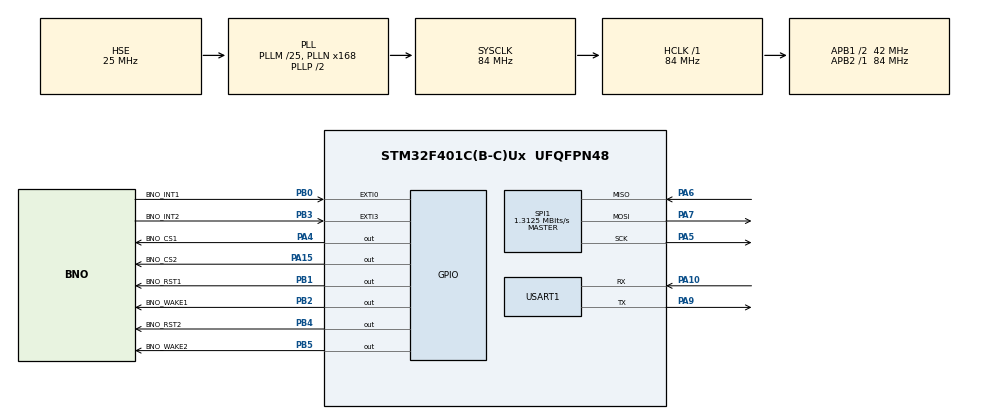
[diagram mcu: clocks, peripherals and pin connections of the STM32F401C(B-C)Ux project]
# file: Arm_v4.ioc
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Mcu.Family=STM32F4
Mcu.Name=STM32F401C(B-C)Ux
Mcu.Package=UFQFPN48
NVIC.EXTI0_IRQn=true\:0\:0\:false\:false\:true\:true\:true\:true
NVIC.EXTI3_IRQn=true\:0\:0\:false\:false\:true\:true\:true\:true
NVIC.PriorityGroup=NVIC_PRIORITYGROUP_4
PA10.Mode=Asynchronous
PA10.Signal=USART1_RX
PA13.Mode=Serial_Wire
PA13.Signal=SYS_JTMS-SWDIO
PA14.Mode=Serial_Wire
PA14.Signal=SYS_JTCK-SWCLK
PA15.GPIO_Label=BNO_CS2
PA15.PinState=GPIO_PIN_SET
PA15.Signal=GPIO_Output
PA4.GPIO_Label=BNO_CS1
PA4.PinState=GPIO_PIN_SET
PA4.Signal=GPIO_Output
PA5.Mode=Full_Duplex_Master
PA5.Signal=SPI1_SCK
PA6.Mode=Full_Duplex_Master
PA6.Signal=SPI1_MISO
PA7.Mode=Full_Duplex_Master
PA7.Signal=SPI1_MOSI
PA9.Mode=Asynchronous
PA9.Signal=USART1_TX
PB0.GPIO_Label=BNO_INT1
PB0.GPIO_ModeDefaultEXTI=GPIO_MODE_IT_FALLING
PB0.GPIO_PuPd=GPIO_PULLUP
PB0.Signal=GPXTI0
PB1.GPIO_Label=BNO_RST1
PB1.GPIO_PuPd=GPIO_PULLUP
PB1.PinState=GPIO_PIN_SET
PB1.Signal=GPIO_Output
PB2.GPIO_Label=BNO_WAKE1
PB2.GPIO_PuPd=GPIO_PULLUP
PB2.PinState=GPIO_PIN_SET
PB2.Signal=GPIO_Output
PB3.GPIO_Label=BNO_INT2
PB3.GPIO_ModeDefaultEXTI=GPIO_MODE_IT_FALLING
PB3.GPIO_PuPd=GPIO_PULLUP
PB3.Signal=GPXTI3
PB4.GPIO_Label=BNO_RST2
PB4.GPIO_PuPd=GPIO_PULLUP
PB4.PinState=GPIO_PIN_SET
PB4.Signal=GPIO_Output
PB5.GPIO_Label=BNO_WAKE2
PB5.GPIO_PuPd=GPIO_PULLUP
PB5.PinState=GPIO_PIN_SET
PB5.Signal=GPIO_Output
PH0\ -\ OSC_IN.Mode=HSE-External-Oscillator
PH0\ -\ OSC_IN.Signal=RCC_OSC_IN
PH1\ -\ OSC_OUT.Mode=HSE-External-Oscillator
PH1\ -\ OSC_OUT.Signal=RCC_OSC_OUT
ProjectManager.HeapSize=0x200
ProjectManager.StackSize=0x400
ProjectManager.TargetToolchain=CMake
RCC.48MHZClocksFreq_Value=42000000
RCC.AHBFreq_Value=84000000
RCC.APB1CLKDivider=RCC_HCLK_DIV2
RCC.APB1Freq_Value=42000000
RCC.APB1TimFreq_Value=84000000
RCC.APB2Freq_Value=84000000
RCC.APB2TimFreq_Value=84000000
RCC.CortexFreq_Value=84000000
RCC.HCLKFreq_Value=84000000
RCC.HSE_VALUE=25000000
RCC.HSI_VALUE=16000000
RCC.LSE_VALUE=32768
RCC.PLLM=25
RCC.PLLN=168
RCC.PLLSourceVirtual=RCC_PLLSOURCE_HSE
RCC.SYSCLKFreq_VALUE=84000000
RCC.SYSCLKSource=RCC_SYSCLKSOURCE_PLLCLK
RCC.VCOOutputFreq_Value=168000000
SPI1.BaudRatePrescaler=SPI_BAUDRATEPRESCALER_64
SPI1.CLKPhase=SPI_PHASE_2EDGE
SPI1.CLKPolarity=SPI_POLARITY_HIGH
SPI1.CalculateBaudRate=1.3125 MBits/s
SPI1.Direction=SPI_DIRECTION_2LINES
SPI1.Mode=SPI_MODE_MASTER
SPI1.VirtualType=VM_MASTER
USART1.VirtualMode=VM_ASYNC
board=custom

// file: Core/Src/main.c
/* USER CODE BEGIN Header */
/**
  ******************************************************************************
  * @file           : main.c
  * @brief          : Main program body
  ******************************************************************************
  * @attention
  *
  * Copyright (c) 2026 STMicroelectronics.
  * All rights reserved.
  *
  * This software is licensed under terms that can be found in the LICENSE file
  * in the root directory of this software component.
  * If no LICENSE file comes with this software, it is provided AS-IS.
  *
  ******************************************************************************
  */
/* USER CODE END Header */
#include "main.h"

/* USER CODE BEGIN Includes */
#include <stdio.h>
#include <string.h>
#include <stdlib.h>

#include "sh2.h"
#include "sh2_err.h"
#include "sh2_hal.h"
#include "sh2_SensorValue.h"
/* USER CODE END Includes */

SPI_HandleTypeDef hspi1;

UART_HandleTypeDef huart1;

/* USER CODE BEGIN PV */
static float s1_real = 0.0f, s1_i = 0.0f, s1_j = 0.0f, s1_k = 0.0f;
static float s2_real = 0.0f, s2_i = 0.0f, s2_j = 0.0f, s2_k = 0.0f;

/* TEMP DEBUG counters, remove once BLE data flow is confirmed working */
static volatile uint32_t dbg_s1_events = 0;
static volatile uint32_t dbg_s1_grv    = 0;
static volatile uint32_t dbg_s2_pkts   = 0;
static volatile uint32_t dbg_s2_grv    = 0;
static int dbg_s1_cfg_ret  = -99;
static int dbg_s2_send_ret = -99;
static volatile uint32_t dbg_int1_low = 0;
static volatile uint32_t dbg_int2_low = 0;
/* USER CODE END PV */

void SystemClock_Config(void);
static void MX_GPIO_Init(void);
static void MX_SPI1_Init(void);
static void MX_USART1_UART_Init(void);
/* USER CODE BEGIN PFP */
static int  spihal_open(sh2_Hal_t *self);
static void spihal_close(sh2_Hal_t *self);
static int  spihal_wake(void);
static int  spihal_read(sh2_Hal_t *self, uint8_t *pBuffer, unsigned len, uint32_t *t_us);
static int  spihal_write(sh2_Hal_t *self, uint8_t *pBuffer, unsigned len);
static uint32_t spihal_getTimeUs(sh2_Hal_t *self);
static sh2_Hal_t *sh2_hal_init(void);
static void sensorHandler(void *cookie, sh2_SensorEvent_t *event);
static void BNO08x_Init(void);
static void sh2_service_wrapper(void);

static int  spihal2_wake(void);
static int  spihal2_reset(void);
static uint16_t spihal2_read(uint8_t *pBuffer, uint16_t len);
static int  spihal2_write(uint8_t *pBuffer, uint16_t len);
static int  s2_send(uint8_t chan, const uint8_t *payload, uint16_t len);
static void s2_handlePacket(uint8_t *buf, uint16_t totalLen);
static void BNO08x2_Init(void);
static void BNO08x2_Service(void);
/* USER CODE END PFP */

/* USER CODE BEGIN 0 */
static int spihal_open(sh2_Hal_t *self)
{
    HAL_GPIO_WritePin(BNO_CS1_GPIO_Port, BNO_CS1_Pin, GPIO_PIN_SET);
    HAL_GPIO_WritePin(BNO_WAKE1_GPIO_Port, BNO_WAKE1_Pin, GPIO_PIN_SET);
    HAL_GPIO_WritePin(BNO_RST1_GPIO_Port, BNO_RST1_Pin, GPIO_PIN_RESET);
    HAL_Delay(50);
    HAL_GPIO_WritePin(BNO_RST1_GPIO_Port, BNO_RST1_Pin, GPIO_PIN_SET);

    uint32_t t0 = HAL_GetTick();
    while (HAL_GPIO_ReadPin(BNO_INT1_GPIO_Port, BNO_INT1_Pin) == GPIO_PIN_SET) {
        if (HAL_GetTick() - t0 > 500U) {
            return SH2_ERR_IO;
        }
    }
    return SH2_OK;
}

static void spihal_close(sh2_Hal_t *self)
{
    (void)self;
}

static int spihal_wake(void)
{
    if (HAL_GPIO_ReadPin(BNO_INT1_GPIO_Port, BNO_INT1_Pin) == GPIO_PIN_RESET) {
        return 1;
    }

    HAL_GPIO_WritePin(BNO_WAKE1_GPIO_Port, BNO_WAKE1_Pin, GPIO_PIN_RESET);
    uint32_t t0 = HAL_GetTick();
    while (HAL_GPIO_ReadPin(BNO_INT1_GPIO_Port, BNO_INT1_Pin) == GPIO_PIN_SET) {
        if (HAL_GetTick() - t0 > 500U) {
            HAL_GPIO_WritePin(BNO_WAKE1_GPIO_Port, BNO_WAKE1_Pin, GPIO_PIN_SET);
            return 0;
        }
    }
    HAL_GPIO_WritePin(BNO_WAKE1_GPIO_Port, BNO_WAKE1_Pin, GPIO_PIN_SET);
    return 1;
}

static int spihal_read(sh2_Hal_t *self, uint8_t *pBuffer, unsigned len, uint32_t *t_us)
{
    (void)self;

    if (HAL_GPIO_ReadPin(BNO_INT1_GPIO_Port, BNO_INT1_Pin) == GPIO_PIN_SET) {
        return 0;
    }

    uint8_t header[4] = {0};
    uint8_t dummy[4] = {0};

    HAL_GPIO_WritePin(BNO_CS1_GPIO_Port, BNO_CS1_Pin, GPIO_PIN_RESET);
    HAL_SPI_TransmitReceive(&hspi1, dummy, header, 4, 100);

    uint16_t packetLen = ((header[1] << 8) | header[0]) & 0x7FFFU;
    if (packetLen == 0U || packetLen > len) {
        HAL_GPIO_WritePin(BNO_CS1_GPIO_Port, BNO_CS1_Pin, GPIO_PIN_SET);
        return 0;
    }

    memcpy(pBuffer, header, 4U);
    uint16_t remain = (uint16_t)(packetLen - 4U);
    if (remain > 0U) {
        uint8_t *dummy2 = (uint8_t *)malloc(remain);
        if (dummy2 == NULL) {
            HAL_GPIO_WritePin(BNO_CS1_GPIO_Port, BNO_CS1_Pin, GPIO_PIN_SET);
            return 0;
        }
        memset(dummy2, 0, remain);
        HAL_SPI_TransmitReceive(&hspi1, dummy2, pBuffer + 4U, remain, 100);
        free(dummy2);
    }
    HAL_GPIO_WritePin(BNO_CS1_GPIO_Port, BNO_CS1_Pin, GPIO_PIN_SET);

    if (t_us != NULL) {
        *t_us = HAL_GetTick() * 1000U;
    }
    return (int)packetLen;
}

static int spihal_write(sh2_Hal_t *self, uint8_t *pBuffer, unsigned len)
{
    (void)self;
    if (!spihal_wake()) {
        return 0;
    }

    HAL_GPIO_WritePin(BNO_CS1_GPIO_Port, BNO_CS1_Pin, GPIO_PIN_RESET);
    HAL_SPI_Transmit(&hspi1, pBuffer, len, 100);
    HAL_GPIO_WritePin(BNO_CS1_GPIO_Port, BNO_CS1_Pin, GPIO_PIN_SET);
    return (int)len;
}

static uint32_t spihal_getTimeUs(sh2_Hal_t *self)
{
    (void)self;
    return HAL_GetTick() * 1000U;
}

static sh2_Hal_t sh2Hal =
{
    .open = spihal_open,
    .close = spihal_close,
    .read = spihal_read,
    .write = spihal_write,
    .getTimeUs = spihal_getTimeUs,
};

static sh2_Hal_t *sh2_hal_init(void)
{
    return &sh2Hal;
}

static void sensorHandler(void *cookie, sh2_SensorEvent_t *event)
{
    (void)cookie;
    sh2_SensorValue_t value;
    if (sh2_decodeSensorEvent(&value, event) != SH2_OK) {
        return;
    }
    dbg_s1_events++;

    if (value.sensorId == SH2_GAME_ROTATION_VECTOR) {
        dbg_s1_grv++;
        s1_real = value.un.gameRotationVector.real;
        s1_i    = value.un.gameRotationVector.i;
        s1_j    = value.un.gameRotationVector.j;
        s1_k    = value.un.gameRotationVector.k;
    }
}

#define S2_CHAN_EXECUTABLE_DEVICE (1)
#define S2_CHAN_SENSORHUB_CONTROL (2)
#define S2_CHAN_SENSORHUB_INPUT   (3)
#define S2_RESET_COMPLETE         (1)
#define S2_SET_FEATURE_CMD        (0xFD)
#define S2_GAME_ROTATION_VECTOR   (0x08)
#define S2_BASE_TIMESTAMP_REF     (0xFB)
#define S2_TIMESTAMP_REBASE       (0xFA)

static uint8_t s2_outSeq[8] = {0};
static bool s2_resetComplete = false;

static int spihal2_wake(void)
{
    if (HAL_GPIO_ReadPin(BNO_INT2_GPIO_Port, BNO_INT2_Pin) == GPIO_PIN_RESET) {
        return 1;
    }

    HAL_GPIO_WritePin(BNO_WAKE2_GPIO_Port, BNO_WAKE2_Pin, GPIO_PIN_RESET);
    uint32_t t0 = HAL_GetTick();
    while (HAL_GPIO_ReadPin(BNO_INT2_GPIO_Port, BNO_INT2_Pin) == GPIO_PIN_SET) {
        if (HAL_GetTick() - t0 > 500U) {
            HAL_GPIO_WritePin(BNO_WAKE2_GPIO_Port, BNO_WAKE2_Pin, GPIO_PIN_SET);
            return 0;
        }
    }
    HAL_GPIO_WritePin(BNO_WAKE2_GPIO_Port, BNO_WAKE2_Pin, GPIO_PIN_SET);
    return 1;
}

static int spihal2_reset(void)
{
    HAL_GPIO_WritePin(BNO_CS2_GPIO_Port, BNO_CS2_Pin, GPIO_PIN_SET);
    HAL_GPIO_WritePin(BNO_WAKE2_GPIO_Port, BNO_WAKE2_Pin, GPIO_PIN_SET);
    HAL_GPIO_WritePin(BNO_RST2_GPIO_Port, BNO_RST2_Pin, GPIO_PIN_RESET);
    HAL_Delay(200);
    HAL_GPIO_WritePin(BNO_RST2_GPIO_Port, BNO_RST2_Pin, GPIO_PIN_SET);

    uint32_t t0 = HAL_GetTick();
    while (HAL_GPIO_ReadPin(BNO_INT2_GPIO_Port, BNO_INT2_Pin) == GPIO_PIN_SET) {
        if (HAL_GetTick() - t0 > 500U) {
            return 0;
        }
    }
    return 1;
}

static uint16_t spihal2_read(uint8_t *pBuffer, uint16_t len)
{
    if (HAL_GPIO_ReadPin(BNO_INT2_GPIO_Port, BNO_INT2_Pin) == GPIO_PIN_SET) {
        return 0;
    }

    uint8_t header[4] = {0};
    uint8_t dummy[4] = {0};

    HAL_GPIO_WritePin(BNO_CS2_GPIO_Port, BNO_CS2_Pin, GPIO_PIN_RESET);
    HAL_SPI_TransmitReceive(&hspi1, dummy, header, 4, 100);

    uint16_t packetLen = ((header[1] << 8) | header[0]) & 0x7FFFU;
    if (packetLen == 0U || packetLen > len) {
        HAL_GPIO_WritePin(BNO_CS2_GPIO_Port, BNO_CS2_Pin, GPIO_PIN_SET);
        return 0;
    }

    memcpy(pBuffer, header, 4U);
    uint16_t remain = (uint16_t)(packetLen - 4U);
    if (remain > 0U) {
        uint8_t *dummy2 = (uint8_t *)malloc(remain);
        if (dummy2 == NULL) {
            HAL_GPIO_WritePin(BNO_CS2_GPIO_Port, BNO_CS2_Pin, GPIO_PIN_SET);
            return 0;
        }
        memset(dummy2, 0, remain);
        HAL_SPI_TransmitReceive(&hspi1, dummy2, pBuffer + 4U, remain, 100);
        free(dummy2);
    }
    HAL_GPIO_WritePin(BNO_CS2_GPIO_Port, BNO_CS2_Pin, GPIO_PIN_SET);
    return packetLen;
}

static int spihal2_write(uint8_t *pBuffer, uint16_t len)
{
    if (!spihal2_wake()) {
        return 0;
    }

    HAL_GPIO_WritePin(BNO_CS2_GPIO_Port, BNO_CS2_Pin, GPIO_PIN_RESET);
    HAL_SPI_Transmit(&hspi1, pBuffer, len, 100);
    HAL_GPIO_WritePin(BNO_CS2_GPIO_Port, BNO_CS2_Pin, GPIO_PIN_SET);
    return len;
}

static int s2_send(uint8_t chan, const uint8_t *payload, uint16_t len)
{
    uint8_t txBuf[24] = {0};
    uint16_t total = (uint16_t)(len + 4U);
    txBuf[0] = (uint8_t)(total & 0xFFU);
    txBuf[1] = (uint8_t)((total >> 8) & 0x7FU);
    txBuf[2] = chan;
    txBuf[3] = s2_outSeq[chan]++;
    memcpy(txBuf + 4U, payload, len);
    return spihal2_write(txBuf, total);
}

static void s2_handlePacket(uint8_t *buf, uint16_t totalLen)
{
    uint8_t chan = buf[2];
    uint8_t *payload = buf + 4U;
    uint16_t plen = (uint16_t)(totalLen - 4U);

    if (chan == S2_CHAN_EXECUTABLE_DEVICE) {
        if (plen >= 1U && payload[0] == S2_RESET_COMPLETE) {
            s2_resetComplete = true;
        }
        return;
    }

    if (chan != S2_CHAN_SENSORHUB_INPUT) {
        return;
    }
    dbg_s2_pkts++;

    uint16_t cursor = 0U;
    while (cursor + 1U <= plen) {
        uint8_t reportId = payload[cursor];

        if (reportId == S2_BASE_TIMESTAMP_REF || reportId == S2_TIMESTAMP_REBASE) {
            cursor += 5U;
        }
        else if (reportId == S2_GAME_ROTATION_VECTOR && cursor + 12U <= plen) {
            int16_t i = (int16_t)(payload[cursor + 4U] | ((uint16_t)payload[cursor + 5U] << 8));
            int16_t j = (int16_t)(payload[cursor + 6U] | ((uint16_t)payload[cursor + 7U] << 8));
            int16_t k = (int16_t)(payload[cursor + 8U] | ((uint16_t)payload[cursor + 9U] << 8));
            int16_t r = (int16_t)(payload[cursor + 10U] | ((uint16_t)payload[cursor + 11U] << 8));

            dbg_s2_grv++;
            s2_real = r / 16384.0f;
            s2_i    = i / 16384.0f;
            s2_j    = j / 16384.0f;
            s2_k    = k / 16384.0f;
            cursor += 12U;
        }
        else {
            break;
        }
    }
}

static void BNO08x2_Init(void)
{
    int attempt = 0;
    while (!spihal2_reset()) {
        char dbg[32];
        int len = snprintf(dbg, sizeof(dbg), "S2 reset fail #%d\r\n", ++attempt);
        HAL_UART_Transmit(&huart1, (uint8_t *)dbg, (uint16_t)len, 100);
        HAL_Delay(500);
    }

    static uint8_t rx[320];
    s2_resetComplete = false;
    uint32_t start = HAL_GetTick();
    while (!s2_resetComplete && (HAL_GetTick() - start < 500U)) {
        uint16_t n = spihal2_read(rx, sizeof(rx));
        if (n > 0U) {
            s2_handlePacket(rx, n);
        }
    }

    uint8_t req[17] = {0};
    req[0] = S2_SET_FEATURE_CMD;
    req[1] = S2_GAME_ROTATION_VECTOR;
    uint32_t interval = 10000U;
    req[5] = (uint8_t)(interval & 0xFFU);
    req[6] = (uint8_t)((interval >> 8) & 0xFFU);
    req[7] = (uint8_t)((interval >> 16) & 0xFFU);
    req[8] = (uint8_t)((interval >> 24) & 0xFFU);
    dbg_s2_send_ret = s2_send(S2_CHAN_SENSORHUB_CONTROL, req, sizeof(req));
}

static void BNO08x2_Service(void)
{
    static uint8_t rx[320];
    uint16_t n = spihal2_read(rx, sizeof(rx));
    if (n > 0U) {
        s2_handlePacket(rx, n);
    }
}

static void BNO08x_Init(void)
{
    sh2_Hal_t *pHal = sh2_hal_init();

    int attempt = 0;
    while (sh2_open(pHal, NULL, NULL) != SH2_OK) {
        char dbg[32];
        int len = snprintf(dbg, sizeof(dbg), "sh2_open fail #%d\r\n", ++attempt);
        HAL_UART_Transmit(&huart1, (uint8_t *)dbg, (uint16_t)len, 100);
        HAL_Delay(500);
    }

    sh2_setSensorCallback(sensorHandler, NULL);

    sh2_SensorConfig_t config = {0};
    config.reportInterval_us = 10000U;
    dbg_s1_cfg_ret = sh2_setSensorConfig(SH2_GAME_ROTATION_VECTOR, &config);
}

static void sh2_service_wrapper(void)
{
    sh2_service();
}
/* USER CODE END 0 */

int main(void)
{

  /* MCU Configuration--------------------------------------------------------*/

  /* Reset of all peripherals, Initializes the Flash interface and the Systick. */
  HAL_Init();

  /* Configure the system clock */
  SystemClock_Config();

  /* Initialize all configured peripherals */
  MX_GPIO_Init();
  MX_SPI1_Init();
  MX_USART1_UART_Init();
  /* USER CODE BEGIN 2 */
  BNO08x_Init();
  BNO08x2_Init();
  /* USER CODE END 2 */

  /* Infinite loop */
  while (1)
  {

    /* USER CODE BEGIN 3 */
    if (HAL_GPIO_ReadPin(BNO_INT1_GPIO_Port, BNO_INT1_Pin) == GPIO_PIN_RESET) dbg_int1_low++;
    if (HAL_GPIO_ReadPin(BNO_INT2_GPIO_Port, BNO_INT2_Pin) == GPIO_PIN_RESET) dbg_int2_low++;

    sh2_service_wrapper();
    BNO08x2_Service();

    static uint32_t lastReportAt = 0;
    if (HAL_GetTick() - lastReportAt >= 100U) {
        lastReportAt = HAL_GetTick();
        char tx_buf[128];
        int len = snprintf(tx_buf, sizeof(tx_buf),
            "%.4f %.4f %.4f %.4f %.4f %.4f %.4f %.4f\r\n",
            s1_real, s1_i, s1_j, s1_k,
            s2_real, s2_i, s2_j, s2_k);
        HAL_UART_Transmit(&huart1, (uint8_t *)tx_buf, (uint16_t)len, 100);
    }

    static uint32_t lastDbgAt = 0;
    if (HAL_GetTick() - lastDbgAt >= 1000U) {
        lastDbgAt = HAL_GetTick();
        char dbg_buf[160];
        int dlen = snprintf(dbg_buf, sizeof(dbg_buf),
            "DBG s1cfg=%d s2send=%d s1ev=%lu s1grv=%lu s2pkt=%lu s2grv=%lu int1lo=%lu int2lo=%lu\r\n",
            dbg_s1_cfg_ret, dbg_s2_send_ret,
            (unsigned long)dbg_s1_events, (unsigned long)dbg_s1_grv,
            (unsigned long)dbg_s2_pkts, (unsigned long)dbg_s2_grv,
            (unsigned long)dbg_int1_low, (unsigned long)dbg_int2_low);
        HAL_UART_Transmit(&huart1, (uint8_t *)dbg_buf, (uint16_t)dlen, 100);
    }
  }
  /* USER CODE END 3 */
}

void SystemClock_Config(void)
{
  RCC_OscInitTypeDef RCC_OscInitStruct = {0};
  RCC_ClkInitTypeDef RCC_ClkInitStruct = {0};

  /** Configure the main internal regulator output voltage
  */
  __HAL_RCC_PWR_CLK_ENABLE();
  __HAL_PWR_VOLTAGESCALING_CONFIG(PWR_REGULATOR_VOLTAGE_SCALE2);

  /** Initializes the RCC Oscillators according to the specified parameters
  * in the RCC_OscInitTypeDef structure.
  */
  RCC_OscInitStruct.OscillatorType = RCC_OSCILLATORTYPE_HSE;
  RCC_OscInitStruct.HSEState = RCC_HSE_ON;
  RCC_OscInitStruct.PLL.PLLState = RCC_PLL_ON;
  RCC_OscInitStruct.PLL.PLLSource = RCC_PLLSOURCE_HSE;
  RCC_OscInitStruct.PLL.PLLM = 25;
  RCC_OscInitStruct.PLL.PLLN = 168;
  RCC_OscInitStruct.PLL.PLLP = RCC_PLLP_DIV2;
  RCC_OscInitStruct.PLL.PLLQ = 4;
  if (HAL_RCC_OscConfig(&RCC_OscInitStruct) != HAL_OK)
  {
    Error_Handler();
  }

  /** Initializes the CPU, AHB and APB buses clocks
  */
  RCC_ClkInitStruct.ClockType = RCC_CLOCKTYPE_HCLK|RCC_CLOCKTYPE_SYSCLK
                              |RCC_CLOCKTYPE_PCLK1|RCC_CLOCKTYPE_PCLK2;
  RCC_ClkInitStruct.SYSCLKSource = RCC_SYSCLKSOURCE_PLLCLK;
  RCC_ClkInitStruct.AHBCLKDivider = RCC_SYSCLK_DIV1;
  RCC_ClkInitStruct.APB1CLKDivider = RCC_HCLK_DIV2;
  RCC_ClkInitStruct.APB2CLKDivider = RCC_HCLK_DIV1;

  if (HAL_RCC_ClockConfig(&RCC_ClkInitStruct, FLASH_LATENCY_2) != HAL_OK)
  {
    Error_Handler();
  }
}

static void MX_SPI1_Init(void)
{

  /* SPI1 parameter configuration*/
  hspi1.Instance = SPI1;
  hspi1.Init.Mode = SPI_MODE_MASTER;
  hspi1.Init.Direction = SPI_DIRECTION_2LINES;
  hspi1.Init.DataSize = SPI_DATASIZE_8BIT;
  hspi1.Init.CLKPolarity = SPI_POLARITY_HIGH;
  hspi1.Init.CLKPhase = SPI_PHASE_2EDGE;
  hspi1.Init.NSS = SPI_NSS_SOFT;
  hspi1.Init.BaudRatePrescaler = SPI_BAUDRATEPRESCALER_64;
  hspi1.Init.FirstBit = SPI_FIRSTBIT_MSB;
  hspi1.Init.TIMode = SPI_TIMODE_DISABLE;
  hspi1.Init.CRCCalculation = SPI_CRCCALCULATION_DISABLE;
  hspi1.Init.CRCPolynomial = 10;
  if (HAL_SPI_Init(&hspi1) != HAL_OK)
  {
    Error_Handler();
  }

}

static void MX_USART1_UART_Init(void)
{

  huart1.Instance = USART1;
  huart1.Init.BaudRate = 115200;
  huart1.Init.WordLength = UART_WORDLENGTH_8B;
  huart1.Init.StopBits = UART_STOPBITS_1;
  huart1.Init.Parity = UART_PARITY_NONE;
  huart1.Init.Mode = UART_MODE_TX_RX;
  huart1.Init.HwFlowCtl = UART_HWCONTROL_NONE;
  huart1.Init.OverSampling = UART_OVERSAMPLING_16;
  if (HAL_UART_Init(&huart1) != HAL_OK)
  {
    Error_Handler();
  }

}

static void MX_GPIO_Init(void)
{
  GPIO_InitTypeDef GPIO_InitStruct = {0};

  /* GPIO Ports Clock Enable */
  __HAL_RCC_GPIOH_CLK_ENABLE();
  __HAL_RCC_GPIOA_CLK_ENABLE();
  __HAL_RCC_GPIOB_CLK_ENABLE();

  /*Configure GPIO pin Output Level */
  HAL_GPIO_WritePin(GPIOA, BNO_CS1_Pin|BNO_CS2_Pin, GPIO_PIN_SET);

  /*Configure GPIO pin Output Level */
  HAL_GPIO_WritePin(GPIOB, BNO_RST1_Pin|BNO_WAKE1_Pin|BNO_RST2_Pin|BNO_WAKE2_Pin, GPIO_PIN_SET);

  /*Configure GPIO pins : BNO_CS1_Pin BNO_CS2_Pin */
  GPIO_InitStruct.Pin = BNO_CS1_Pin|BNO_CS2_Pin;
  GPIO_InitStruct.Mode = GPIO_MODE_OUTPUT_PP;
  GPIO_InitStruct.Pull = GPIO_NOPULL;
  GPIO_InitStruct.Speed = GPIO_SPEED_FREQ_LOW;
  HAL_GPIO_Init(GPIOA, &GPIO_InitStruct);

  /*Configure GPIO pins : BNO_INT1_Pin BNO_INT2_Pin */
  GPIO_InitStruct.Pin = BNO_INT1_Pin|BNO_INT2_Pin;
  GPIO_InitStruct.Mode = GPIO_MODE_IT_FALLING;
  GPIO_InitStruct.Pull = GPIO_PULLUP;
  HAL_GPIO_Init(GPIOB, &GPIO_InitStruct);

  /*Configure GPIO pins : BNO_RST1_Pin BNO_WAKE1_Pin BNO_RST2_Pin BNO_WAKE2_Pin */
  GPIO_InitStruct.Pin = BNO_RST1_Pin|BNO_WAKE1_Pin|BNO_RST2_Pin|BNO_WAKE2_Pin;
  GPIO_InitStruct.Mode = GPIO_MODE_OUTPUT_PP;
  GPIO_InitStruct.Pull = GPIO_PULLUP;
  GPIO_InitStruct.Speed = GPIO_SPEED_FREQ_LOW;
  HAL_GPIO_Init(GPIOB, &GPIO_InitStruct);

  /* EXTI interrupt init*/
  HAL_NVIC_SetPriority(EXTI0_IRQn, 0, 0);
  HAL_NVIC_EnableIRQ(EXTI0_IRQn);

  HAL_NVIC_SetPriority(EXTI3_IRQn, 0, 0);
  HAL_NVIC_EnableIRQ(EXTI3_IRQn);

}

void Error_Handler(void)
{
  __disable_irq();
  while (1)
  {
  }
}
